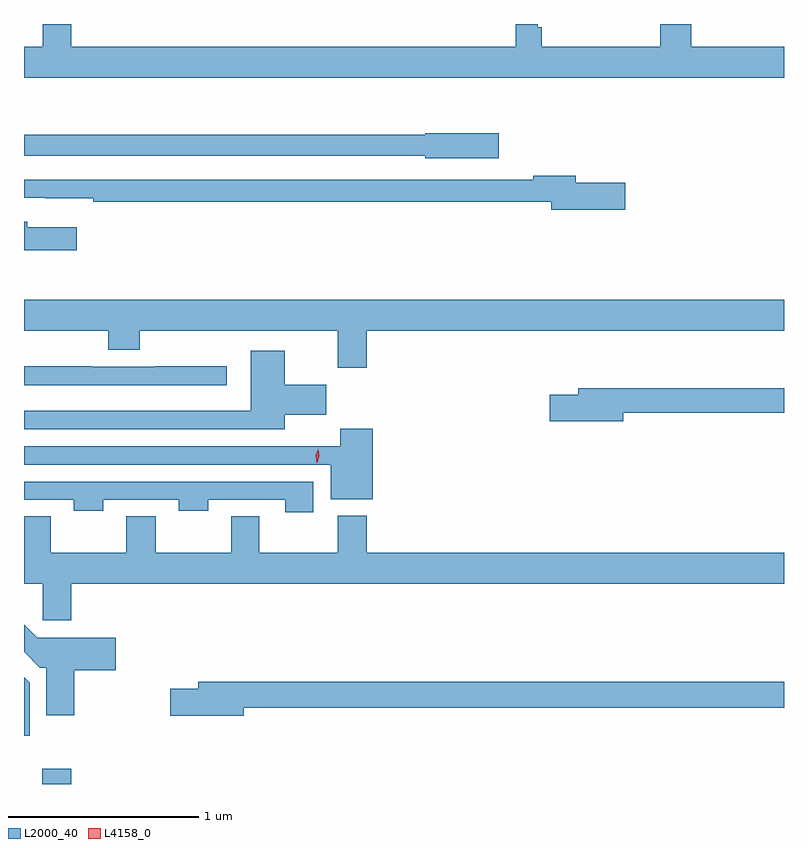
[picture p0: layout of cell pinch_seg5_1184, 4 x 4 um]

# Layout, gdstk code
import gdstk
lib = gdstk.Library(unit=1e-6, precision=1e-09)
def R(c, l, rs):  # rectangles x0, y0, x1, y1
    for r in rs: c.add(gdstk.rectangle(r[:2], r[2:], *l))
def P(c, l, *ps):  # polygons
    for p in ps: c.add(gdstk.Polygon(p, *l))
L2000_40 = (2000, 40)
L4158_0 = (4158, 0)

pinch_seg5_1184 = lib.new_cell('pinch_seg5_1184')
R(pinch_seg5_1184, L2000_40, [(614.879,906.323,615.032,906.403)])
P(pinch_seg5_1184, L2000_40, [(618.783,910.204),(618.296,910.204),(618.296,910.323),(618.131,910.323),(618.131,910.204),(617.507,910.204),(617.507,910.305),(617.487,910.305),(617.487,910.323),(617.371,910.323),(617.371,910.204),(615.032,910.204),(615.032,910.323),(614.881,910.323),(614.881,910.204),(614.783,910.204),(614.783,910.04),(618.783,910.04)],
  [(617.281,909.747),(616.896,909.747),(616.896,909.739),(614.783,909.739),(614.783,909.63),(616.896,909.63),(616.896,909.617),(617.281,909.617)],
  [(617.947,909.488),(617.686,909.488),(617.686,909.524),(617.462,909.524),(617.462,909.504),(614.783,909.504),(614.783,909.408),(614.896,909.408),(614.896,909.407),(615.148,909.407),(615.148,909.388),(617.558,909.388),(617.558,909.346),(617.947,909.346)],
  [(615.061,909.253),(614.8,909.253),(614.8,909.282),(614.783,909.282),(614.783,909.131),(615.061,909.131)],
  [(616.586,908.708),(618.783,908.708),(618.783,908.872),(614.783,908.872),(614.783,908.708),(615.227,908.708),(615.227,908.609),(615.392,908.609),(615.392,908.708),(616.433,908.708),(616.433,908.514),(616.586,908.514)],
  [(616.156,908.267),(616.375,908.267),(616.375,908.425),(616.156,908.425),(616.156,908.602),(615.977,908.602),(615.977,908.287),(614.783,908.287),(614.783,908.19),(616.156,908.19)],
  [(615.85,908.522),(615.475,908.522),(615.475,908.52),(615.143,908.52),(615.143,908.522),(614.783,908.522),(614.783,908.423),(615.85,908.423)],
  [(617.938,908.278),(618.783,908.278),(618.783,908.407),(617.699,908.407),(617.699,908.373),(617.55,908.373),(617.55,908.231),(617.938,908.231)],
  [(616.619,908.194),(616.448,908.194),(616.448,908.101),(616.252,908.101),(616.252,908.1),(614.783,908.1),(614.783,908.004),(616.397,908.004),(616.397,907.823),(616.619,907.823)],
  [(616.306,907.914),(614.783,907.914),(614.783,907.818),(615.046,907.818),(615.046,907.76),(615.201,907.76),(615.201,907.818),(615.598,907.818),(615.598,907.76),(615.753,907.76),(615.753,907.818),(616.157,907.818),(616.157,907.752),(616.306,907.752)],
  [(615.032,907.376),(618.783,907.376),(618.783,907.54),(616.586,907.54),(616.586,907.735),(616.433,907.735),(616.433,907.54),(616.021,907.54),(616.021,907.733),(615.874,907.733),(615.874,907.54),(615.477,907.54),(615.477,907.733),(615.322,907.733),(615.322,907.54),(614.925,907.54),(614.925,907.733),(614.783,907.733),(614.783,907.376),(614.881,907.376),(614.881,907.185),(615.032,907.185)],
  [(615.047,906.923),(615.265,906.923),(615.265,907.093),(615.03,907.093),(615.03,907.092),(614.853,907.092),(614.783,907.162),(614.783,907.018),(614.866,906.936),(614.9,906.936),(614.9,906.684),(615.047,906.684)],
  [(614.812,906.857),(614.783,906.886),(614.783,906.577),(614.812,906.577)],
  [(615.94,906.724),(618.783,906.724),(618.783,906.86),(615.701,906.86),(615.701,906.824),(615.552,906.824),(615.552,906.682),(615.94,906.682)])
P(pinch_seg5_1184, L4158_0, [(616.325,908.015),(616.325,908.015),(616.318,908.052),(616.331,908.086),(616.331,908.087),(616.331,908.086),(616.338,908.05),(616.326,908.015)])

lib.write_gds('pinch_seg5_1184.gds')
